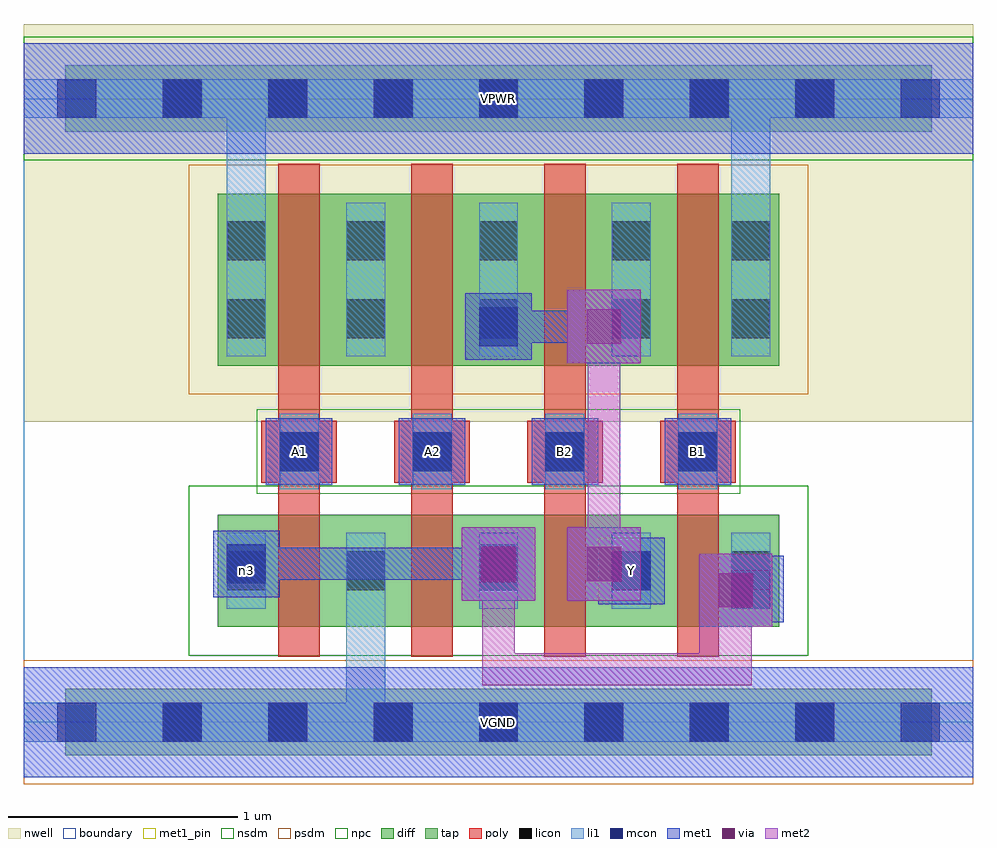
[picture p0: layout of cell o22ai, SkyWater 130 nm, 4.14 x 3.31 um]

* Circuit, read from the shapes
.subckt o22ai A1 A2 B1 B2 VGND VPWR Y n3
XM1 VGND A1 n3 VGND sky130_fd_pr__nfet_01v8 w=0.49 l=0.18
XM2 n3 A2 VGND VGND sky130_fd_pr__nfet_01v8 w=0.49 l=0.18
XM3 Y B2 n3 VGND sky130_fd_pr__nfet_01v8 w=0.49 l=0.18
XM4 n3 B1 Y VGND sky130_fd_pr__nfet_01v8 w=0.49 l=0.18
XM5 n1 A1 VPWR VPWR sky130_fd_pr__pfet_01v8 w=0.75 l=0.18
XM6 Y A2 n1 VPWR sky130_fd_pr__pfet_01v8 w=0.75 l=0.18
XM7 n2 B2 Y VPWR sky130_fd_pr__pfet_01v8 w=0.75 l=0.18
XM8 VPWR B1 n2 VPWR sky130_fd_pr__pfet_01v8 w=0.75 l=0.18
.ends

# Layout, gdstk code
import gdstk
lib = gdstk.Library(unit=1e-6, precision=1e-09)
def R(c, l, rs):  # rectangles x0, y0, x1, y1
    for r in rs: c.add(gdstk.rectangle(r[:2], r[2:], *l))
def A(c, l, x, y, w, h, nx, ny, dx, dy):  # array of equal rectangles
    R(c, l, [(x+i*dx, y+j*dy, x+i*dx+w, y+j*dy+h) for i in range(nx) for j in range(ny)])
nwell = (64, 20)
diff = (65, 20)
tap = (65, 44)
poly = (66, 20)
licon = (66, 44)
li1 = (67, 20)
mcon = (67, 44)
met1_pin = (68, 16)
met1 = (68, 20)
via = (68, 44)
met2 = (69, 20)
nsdm = (93, 44)
psdm = (94, 20)
npc = (95, 20)
boundary = (235, 4)

o22ai = lib.new_cell('o22ai')
R(o22ai, nwell, [(0,1.31,4.14,3.045)])
R(o22ai, diff, [(0.845,0.415,3.295,0.905), (0.845,1.555,3.295,2.305)])
R(o22ai, tap, [(0.18,-0.145,3.96,0.145), (0.18,2.575,3.96,2.865)])
A(o22ai, poly, 1.11, 0.285, 0.18, 2.15, 4, 1, 0.58, 0)
A(o22ai, poly, 1.035, 1.045, 0.33, 0.27, 4, 1, 0.58, 0)
A(o22ai, licon, 0.605, -0.085, 0.17, 0.17, 7, 2, 0.46, 2.72)
A(o22ai, licon, 1.405, 0.575, 0.17, 0.17, 3, 2, 0.58, 1.1)
A(o22ai, licon, 1.115, 1.095, 0.17, 0.17, 4, 1, 0.58, 0)
A(o22ai, licon, 1.405, 2.015, 0.17, 0.17, 3, 1, 0.58, 0)
R(o22ai, licon, [(0.885,0.575,1.055,0.745), (3.085,0.575,3.255,0.745), (0.885,1.675,1.055,1.845), (3.085,1.675,3.255,1.845), (0.885,2.015,1.055,2.185), (3.085,2.015,3.255,2.185)])
A(o22ai, li1, 1.405, 0.495, 0.17, 0.33, 3, 1, 0.58, 0)
A(o22ai, li1, 1.115, 1.015, 0.17, 0.33, 4, 1, 0.58, 0)
A(o22ai, li1, 1.405, 1.595, 0.17, 0.67, 3, 1, 0.58, 0)
R(o22ai, li1, [(0,-0.085,4.14,0.085), (1.405,-0.085,1.575,0.825), (0.885,0.495,1.055,0.825), (3.085,0.495,3.255,0.825), (0.885,1.595,1.055,2.265), (0.885,1.595,1.055,2.805), (3.085,1.595,3.255,2.265), (3.085,1.595,3.255,2.805), (0,2.635,4.14,2.805)])
A(o22ai, mcon, 0.145, -0.085, 0.17, 0.17, 9, 2, 0.46, 2.72)
A(o22ai, mcon, 1.115, 1.095, 0.17, 0.17, 4, 1, 0.58, 0)
R(o22ai, mcon, [(3.085,0.495,3.255,0.665), (2.565,0.575,2.735,0.745), (0.885,0.605,1.055,0.775), (1.985,0.605,2.155,0.775), (1.985,1.64,2.155,1.81)])
A(o22ai, met1_pin, 1.055, 1.035, 0.29, 0.29, 4, 1, 0.58, 0)
R(o22ai, met1_pin, [(0,-0.24,4.14,0.24), (2.505,0.515,2.795,0.805), (0,2.48,4.14,2.96)])
A(o22ai, met1, 1.055, 1.035, 0.29, 0.29, 4, 1, 0.58, 0)
R(o22ai, met1, [(0,-0.24,4.14,0.24), (2.945,0.415,3.265,0.735), (3.025,0.435,3.315,0.725), (3.035,0.505,3.175,0.65), (3.035,0.51,3.24,0.65), (2.505,0.515,2.795,0.805), (1.91,0.53,2.23,0.85), (2.37,0.53,2.69,0.85), (0.825,0.545,1.115,0.835), (1.925,0.545,2.215,0.835), (0.9,0.62,1.22,0.76), (1.08,0.62,2.14,0.76), (2.46,0.62,2.715,0.76), (2.575,0.62,2.715,0.76), (2.37,1.565,2.69,1.885), (1.925,1.58,2.215,1.87), (2,1.655,2.6,1.795), (0,2.48,4.14,2.96)])
R(o22ai, via, [(3.03,0.5,3.18,0.65), (1.995,0.615,2.145,0.765), (2.455,0.615,2.605,0.765), (2.455,1.65,2.605,1.8)])
R(o22ai, met2, [(2,0.16,2.14,0.76), (2,0.16,3.175,0.3), (3.035,0.16,3.175,0.645), (2.945,0.3,3.175,0.415), (2.945,0.415,3.265,0.735), (1.91,0.53,2.23,0.85), (2.37,0.53,2.69,0.85), (2.46,0.62,2.6,1.795), (2.37,1.565,2.69,1.885)])
R(o22ai, nsdm, [(0.72,0.29,3.42,1.03), (0,2.45,4.14,2.99)])
R(o22ai, psdm, [(0,-0.27,4.14,0.27), (0.72,1.43,3.42,2.43)])
R(o22ai, npc, [(1.015,0.995,3.125,1.365)])
R(o22ai, boundary, [(0,0,4.14,2.72)])
o22ai.add(gdstk.Label('n3', (0.97,0.66), layer=67, texttype=5))
o22ai.add(gdstk.Label('A1', (1.2,1.18), layer=68, texttype=5))
o22ai.add(gdstk.Label('A2', (1.78,1.18), layer=68, texttype=5))
o22ai.add(gdstk.Label('B1', (2.94,1.18), layer=68, texttype=5))
o22ai.add(gdstk.Label('B2', (2.36,1.18), layer=68, texttype=5))
o22ai.add(gdstk.Label('Y', (2.65,0.66), layer=68, texttype=5))
o22ai.add(gdstk.Label('VPWR', (2.07,2.72), layer=68, texttype=5))
o22ai.add(gdstk.Label('VGND', (2.07,0), layer=68, texttype=5))
o22ai.add(gdstk.Label('A1', (1.2,1.18), layer=68, texttype=16))
o22ai.add(gdstk.Label('A2', (1.78,1.18), layer=68, texttype=16))
o22ai.add(gdstk.Label('B1', (2.94,1.18), layer=68, texttype=16))
o22ai.add(gdstk.Label('B2', (2.36,1.18), layer=68, texttype=16))
o22ai.add(gdstk.Label('Y', (2.65,0.66), layer=68, texttype=16))
o22ai.add(gdstk.Label('VPWR', (2.07,2.72), layer=68, texttype=16))
o22ai.add(gdstk.Label('VGND', (2.07,0), layer=68, texttype=16))

lib.write_gds('o22ai.gds')
